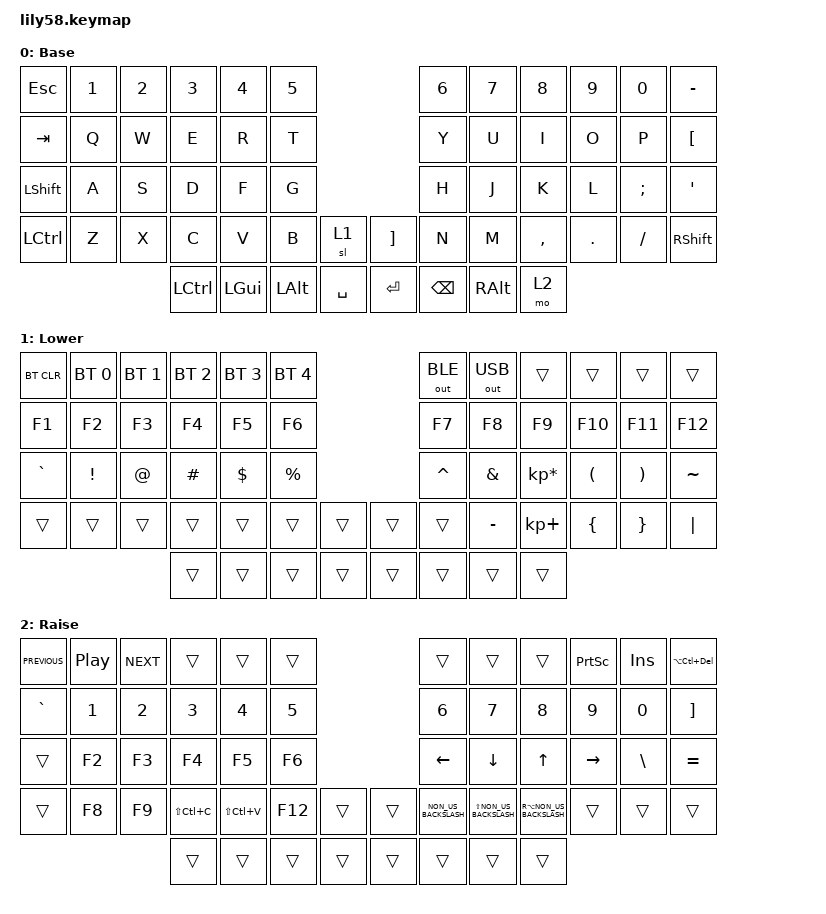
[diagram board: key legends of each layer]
/*
 * Copyright (c) 2020 The ZMK Contributors
 *
 * SPDX-License-Identifier: MIT
 */

#include <behaviors.dtsi>
#include <dt-bindings/zmk/bt.h>
#include <dt-bindings/zmk/keys.h>
#include <dt-bindings/zmk/outputs.h>

/ {
    keymap {
        compatible = "zmk,keymap";

        default_layer {
            // ------------------------------------------------------------------------------------------------------------
            // |  ESC  |  1  |  2  |  3   |  4   |  5   |                   |  6   |  7    |  8    |  9   |   0   |   `   |
            // |  TAB  |  Q  |  W  |  E   |  R   |  T   |                   |  Y   |  U    |  I    |  O   |   P   |   -   |
            // |  CTRL |  A  |  S  |  D   |  F   |  G   |                   |  H   |  J    |  K    |  L   |   ;   |   '   |
            // | SHIFT |  Z  |  X  |  C   |  V   |  B   |   "["  |  |  "]"  |  N   |  M    |  ,    |  .   |   /   | SHIFT |
            //                     | ALT  | GUI  | LOWER|  SPACE |  | ENTER | RAISE| BSPC  | GUI   |

            display-name = "Base";
            bindings = <
&kp ESC     &kp N1  &kp N2  &kp N3     &kp N4    &kp N5                               &kp N6         &kp N7         &kp N8     &kp N9   &kp N0     &kp MINUS
&kp TAB     &kp Q   &kp W   &kp E      &kp R     &kp T                                &kp Y          &kp U          &kp I      &kp O    &kp P      &kp LEFT_BRACKET
&kp LSHIFT  &kp A   &kp S   &kp D      &kp F     &kp G                                &kp H          &kp J          &kp K      &kp L    &kp SEMI   &kp SQT
&kp LCTRL   &kp Z   &kp X   &kp C      &kp V     &kp B         &sl 1        &kp RBKT  &kp N          &kp M          &kp COMMA  &kp DOT  &kp SLASH  &kp RSHFT
                            &kp LCTRL  &kp LGUI  &kp LEFT_ALT  &kp SPACE    &kp RET   &kp BACKSPACE  &kp RIGHT_ALT  &mo 2
            >;
        };

        lower_layer {
            // ------------------------------------------------------------------------------------------------------------
            // | BTCLR | BT1 | BT2 |  BT3 |  BT4 |  BT5 |                   |      |       |       |      |       |       |
            // |  F1   |  F2 |  F3 |  F4  |  F5  |  F6  |                   |  F7  |  F8   |  F9   |  F10 |  F11  |  F12  |
            // |   `   |  !  |  @  |  #   |  $   |  %   |                   |  ^   |  &    |  *    |  (   |   )   |   ~   |
            // |       |     |     |      |      |      |        |  |       |      |  _    |  +    |  {   |   }   |  "|"  |
            //                     |      |      |      |        |  |       |      |       |       |

            display-name = "Lower";
            bindings = <
&bt BT_CLR  &bt BT_SEL 0  &bt BT_SEL 1  &bt BT_SEL 2  &bt BT_SEL 3  &bt BT_SEL 4                    &out OUT_BLE  &out OUT_USB  &trans           &trans    &trans    &trans
&kp F1      &kp F2        &kp F3        &kp F4        &kp F5        &kp F6                          &kp F7        &kp F8        &kp F9           &kp F10   &kp F11   &kp F12
&kp GRAVE   &kp EXCL      &kp AT        &kp HASH      &kp DOLLAR    &kp PRCNT                       &kp CARET     &kp AMPS      &kp KP_MULTIPLY  &kp LPAR  &kp RPAR  &kp TILDE
&trans      &trans        &trans        &trans        &trans        &trans        &trans    &trans  &trans        &kp MINUS     &kp KP_PLUS      &kp LBRC  &kp RBRC  &kp PIPE
                                        &trans        &trans        &trans        &trans    &trans  &trans        &trans        &trans
            >;
        };

        raise_layer {
            // ------------------------------------------------------------------------------------------------------------
            // |       |     |     |      |      |      |                   |      |       |       |      |       |       |
            // |   `   |  1  |  2  |  3   |  4   |  5   |                   |  6   |   7   |   8   |  9   |   0   |       |
            // |   F1  |  F2 |  F3 |  F4  |  F5  |  F6  |                   |      |   <-  |   v   |  ^   |  ->   |       |
            // |   F7  |  F8 |  F9 |  F10 |  F11 |  F12 |        |  |       |  +   |   -   |   =   |  [   |   ]   |   \   |
            //                     |      |      |      |        |  |       |      |       |       |

            display-name = "Raise";
            bindings = <
&kp C_PREVIOUS  &kp C_PLAY_PAUSE  &kp C_NEXT  &trans         &trans         &trans                     &trans                &trans                    &trans                    &kp PRINTSCREEN  &kp INSERT     &kp LA(LC(DELETE))
&kp GRAVE       &kp N1            &kp N2      &kp N3         &kp N4         &kp N5                     &kp N6                &kp N7                    &kp N8                    &kp N9           &kp NUMBER_0   &kp RIGHT_BRACKET
&trans          &kp F2            &kp F3      &kp F4         &kp F5         &kp F6                     &kp LEFT              &kp DOWN                  &kp UP_ARROW              &kp RIGHT        &kp BACKSLASH  &kp EQUAL
&trans          &kp F8            &kp F9      &kp LS(LC(C))  &kp LS(LC(V))  &kp F12  &trans    &trans  &kp NON_US_BACKSLASH  &kp LS(NON_US_BACKSLASH)  &kp RA(NON_US_BACKSLASH)  &trans           &trans         &trans
                                              &trans         &trans         &trans   &trans    &trans  &trans                &trans                    &trans
            >;
        };

        extra_1 {
            status = "reserved";
        };

        extra_2 {
            status = "reserved";
        };

        extra_3 {
            status = "reserved";
        };
    };
};
